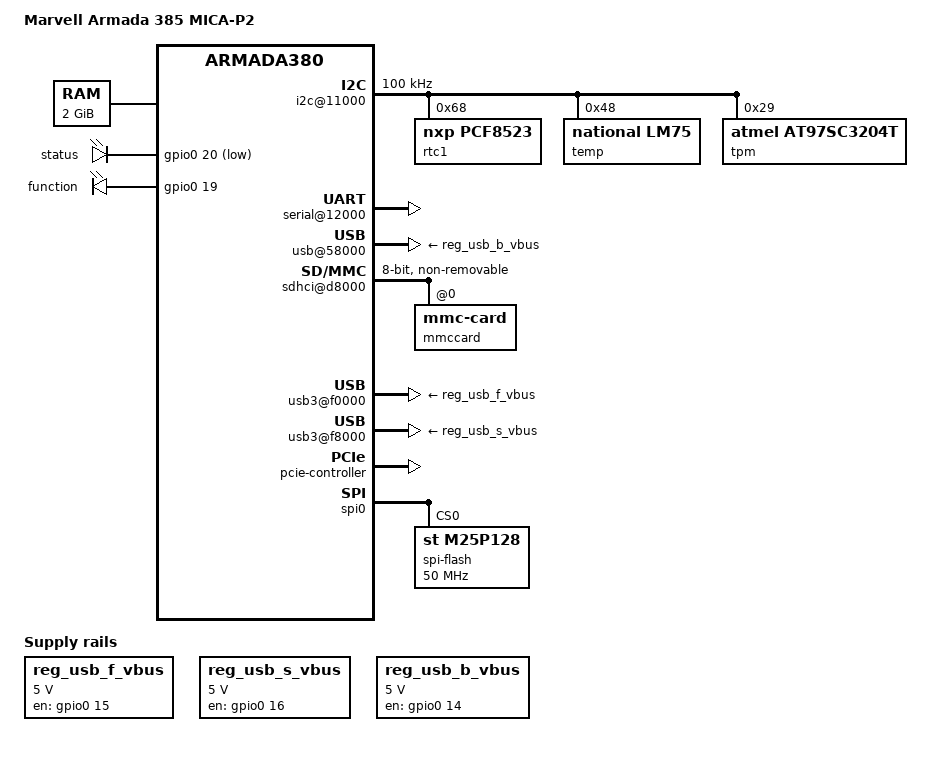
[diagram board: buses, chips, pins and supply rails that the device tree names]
/*
 * Copyright (C) 2017 HARTING Software IT Development GmbH & Co. KG - http://www.harting.com/
 *
 * This program is free software; you can redistribute it and/or modify
 * it under the terms of the GNU General Public License version 2 as
 * published by the Free Software Foundation.
 *
 * Original license:
 *
 * Device Tree file for Marvell Armada 385 development board
 * (DB-88F6820-AMC)
 *
 * Copyright (C) 2014 Marvell
 *
 * Gregory CLEMENT <gregory.clement@free-electrons.com>
 *
 * This file is dual-licensed: you can use it either under the terms
 * of the GPL or the X11 license, at your option. Note that this dual
 * licensing only applies to this file, and not this project as a
 * whole.
 *
 *  a) This file is licensed under the terms of the GNU General Public
 *     License version 2.  This program is licensed "as is" without
 *     any warranty of any kind, whether express or implied.
 *
 * Or, alternatively,
 *
 *  b) Permission is hereby granted, free of charge, to any person
 *     obtaining a copy of this software and associated documentation
 *     files (the "Software"), to deal in the Software without
 *     restriction, including without limitation the rights to use,
 *     copy, modify, merge, publish, distribute, sublicense, and/or
 *     sell copies of the Software, and to permit persons to whom the
 *     Software is furnished to do so, subject to the following
 *     conditions:
 *
 *     The above copyright notice and this permission notice shall be
 *     included in all copies or substantial portions of the Software.
 *
 *     THE SOFTWARE IS PROVIDED "AS IS", WITHOUT WARRANTY OF ANY KIND,
 *     EXPRESS OR IMPLIED, INCLUDING BUT NOT LIMITED TO THE WARRANTIES
 *     OF MERCHANTABILITY, FITNESS FOR A PARTICULAR PURPOSE AND
 *     NONINFRINGEMENT. IN NO EVENT SHALL THE AUTHORS OR COPYRIGHT
 *     HOLDERS BE LIABLE FOR ANY CLAIM, DAMAGES OR OTHER LIABILITY,
 *     WHETHER IN AN ACTION OF CONTRACT, TORT OR OTHERWISE, ARISING
 *     FROM, OUT OF OR IN CONNECTION WITH THE SOFTWARE OR THE USE OR
 *     OTHER DEALINGS IN THE SOFTWARE.
 */

/dts-v1/;
#include <dt-bindings/gpio/gpio.h>
#include "armada-385.dtsi"

/ {
	model = "Marvell Armada 385 MICA-P2";
	compatible = "marvell,armada385", "marvell,armada380";

	chosen {
		stdout-path = "serial0:115200n8";
	};

	aliases {
		i2c0 = &i2c0;
		spi0 = &spi0;
	};

	memory {
		device_type = "memory";
		reg = <0x00000000 0x80000000>; /* 2 GB */
	};

	reg_usb_f_vbus: usb_vbus@0 {
		compatible = "regulator-fixed";
		regulator-name = "usb-f-vbus";
		regulator-min-microvolt = <5000000>;
		regulator-max-microvolt = <5000000>;
		startup-delay-us = <200000>;
		enable-active-high;
		regulator-boot-on;
		regulator-always-on;
		gpio = <&gpio0 15 GPIO_ACTIVE_HIGH>;
	};

	reg_usb_s_vbus: usb_vbus@1 {
		compatible = "regulator-fixed";
		regulator-name = "usb-s-vbus";
		regulator-min-microvolt = <5000000>;
		regulator-max-microvolt = <5000000>;
		startup-delay-us = <200000>;
		enable-active-high;
		regulator-boot-on;
		regulator-always-on;
		gpio = <&gpio0 16 GPIO_ACTIVE_HIGH>;
	};

	reg_usb_b_vbus: usb_vbus@2 {
		compatible = "regulator-fixed";
		regulator-name = "usb-b-vbus";
		regulator-min-microvolt = <5000000>;
		regulator-max-microvolt = <5000000>;
		startup-delay-us = <200000>;
		enable-active-high;
		regulator-boot-on;
		regulator-always-on;
		gpio = <&gpio0 14 GPIO_ACTIVE_HIGH>;
	};

	leds {
		compatible = "gpio-leds";
		error {
			label = "status";
			gpios = <&gpio0 20 GPIO_ACTIVE_LOW>;
			default-state = "off";
		};
		function {
			label = "function";
			gpios = <&gpio0 19 GPIO_ACTIVE_HIGH>;
			default-state = "off";
		};
	};

	soc {
		ranges = <MBUS_ID(0xf0, 0x01) 0 0xf1000000 0x100000
				  MBUS_ID(0x01, 0x1d) 0 0xfff00000 0x100000>;
/*
		ranges = <MBUS_ID(0xf0, 0x01) 0 0xf1000000 0x100000
				  MBUS_ID(0x01, 0x1d) 0 0xfff00000 0x100000
				  MBUS_ID(0x09, 0x19) 0 0xf1100000 0x10000
				  MBUS_ID(0x09, 0x15) 0 0xf1110000 0x10000>;
*/

		internal-regs {
			i2c@11000 {
				clock-frequency = <100000>;
				u-boot,i2c-slave-addr = <0x0>;
				pinctrl-names = "default";
				pinctrl-0 = <&i2c0_pins>;
				status = "okay";

				rtc1: pcf8523@68 {
					compatible = "nxp,pcf8523";
					reg = <0x68>;
				};

				temp: lm75@48 {
					compatible = "national,lm75";
					reg = <0x48>;
				};

				tpm: tpm@29 {
					compatible = "atmel,at97sc3204t";
					reg = <0x29>;
					status = "okay";
				};
			};
			
			/*
			//TODO fix pmic watchdog config
			pmic0: da9063@5a {
				compatible = "dlg,da9063";
				reg = <0x5a>;
				wdt {
					compatible = "dlg,da9063-watchdog";
				};
			};
			*/

			serial@12000 {
				pinctrl-names = "default";
				pinctrl-0 = <&uart0_pins>;
				status = "okay";
				u-boot,dm-pre-reloc;
			};

			usb@58000 {
				vbus-supply = <&reg_usb_b_vbus>;
				vbus-disable-delay = <1000>;
				status = "okay";
			};

			sdhci@d8000 {
				broken-cd;
				wp-inverted;
				bus-width = <8>;
				status = "okay";
				no-1-8-v;
				non-removable;

				#address-cells = <1>;
				#size-cells = <0>;
				mmccard: mmccard@0 {
					status = "okay";
					compatible = "mmc-card";
					reg = <0>;
				};
			};

			usb3@f0000 {
				vbus-supply = <&reg_usb_f_vbus>;
				vbus-disable-delay = <1000>;
				status = "okay";
			};

			usb3@f8000 {
				vbus-supply = <&reg_usb_s_vbus>;
				vbus-disable-delay = <1000>;
				status = "okay";
			};
		};
		pcie-controller {
			status = "okay";

			pcie@1,0 {
				/* Port 0, Lane 0 */
				status = "okay";
			};

			pcie@2,0 {
				/* Port 1, Lane 0 */
				status = "okay";
			};

			pcie@3,0 {
				/* Port 2, Lane 0 */
				status = "okay";
			};
		};
	};
};

&spi0 {
	pinctrl-names = "default";
	pinctrl-0 = <&spi0_pins>;
	status = "okay";
	u-boot,dm-pre-reloc;

	spi-flash@0 {
		u-boot,dm-pre-reloc;
		#address-cells = <1>;
		#size-cells = <1>;
		compatible = "st,m25p128", "jedec,spi-nor";
		reg = <0>; /* Chip select 0 */
		spi-max-frequency = <50000000>;
		m25p,fast-read;

		mtd0@00000000 {
				label = "u-boot";
				reg = <0x0 0xA0000>;
		};

		mtd1@000A0000 {
				label = "data";
				reg = <0xA0000 0x80000>;
		};
		mtd2@00120000 {
				label = "user";
				reg = <0x120000 0x2e0000>;
		};
	};
};

&refclk {
	clock-frequency = <25000000>;
};
